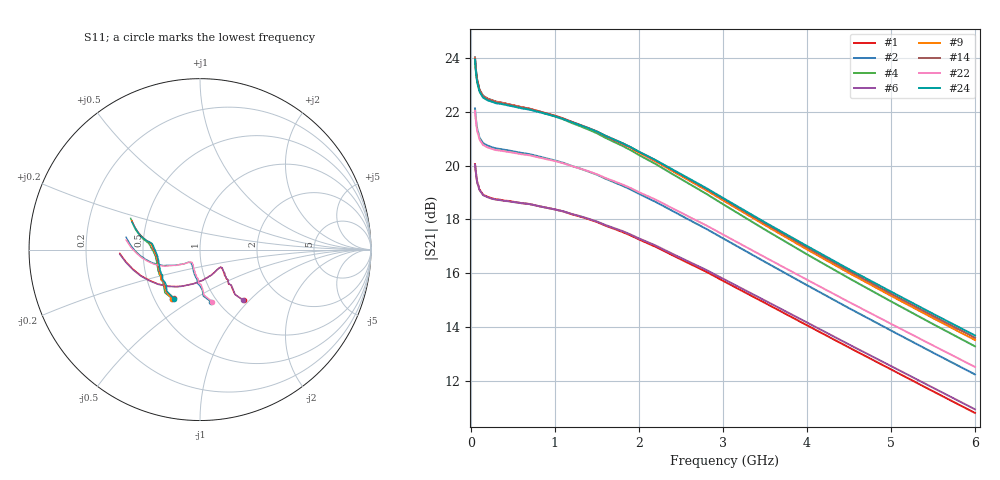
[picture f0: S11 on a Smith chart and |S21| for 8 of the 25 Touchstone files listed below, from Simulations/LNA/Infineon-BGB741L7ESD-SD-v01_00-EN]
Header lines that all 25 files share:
!  Infineon Technologies AG
!  BGB741L7ESD
# GHz  S  MA  R  50
!f  S11  S21  S12  S22
!GHz  Mag  Ang  Mag  Ang  Mag  Ang  Mag  Ang
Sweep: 50 MHz to 6 GHz
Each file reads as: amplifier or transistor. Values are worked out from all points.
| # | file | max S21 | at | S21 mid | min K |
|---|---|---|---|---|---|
| 1 | BGB741L7ESD_1V86M0.s2p | 20.1 dB | 50 MHz | 18.4 dB at 1 GHz | 0.80 |
| 2 | BGB741L7ESD_1V810M.s2p | 22.1 dB | 50 MHz | 20.2 dB at 1 GHz | 0.81 |
| 3 | BGB741L7ESD_1V815M.s2p | 23.4 dB | 50 MHz | 21.3 dB at 1 GHz | 0.80 |
| 4 | BGB741L7ESD_1V820M.s2p | 24.0 dB | 50 MHz | 21.8 dB at 1 GHz | 0.81 |
| 5 | BGB741L7ESD_1V825M.s2p | 24.4 dB | 50 MHz | 22.2 dB at 1 GHz | 0.81 |
| 6 | BGB741L7ESD_2V56M0.s2p | 20.0 dB | 50 MHz | 18.4 dB at 1 GHz | 0.81 |
| 7 | BGB741L7ESD_2V510M.s2p | 22.1 dB | 50 MHz | 20.2 dB at 1 GHz | 0.81 |
| 8 | BGB741L7ESD_2V515M.s2p | 23.3 dB | 50 MHz | 21.3 dB at 1 GHz | 0.81 |
| 9 | BGB741L7ESD_2V520M.s2p | 24.0 dB | 50 MHz | 21.9 dB at 1 GHz | 0.81 |
| 10 | BGB741L7ESD_2V525M.s2p | 24.4 dB | 50 MHz | 22.2 dB at 1 GHz | 0.81 |
| 11 | BGB741L7ESD_3V06M0.s2p | 20.0 dB | 50 MHz | 18.4 dB at 1 GHz | 0.81 |
| 12 | BGB741L7ESD_3V010M.s2p | 22.1 dB | 50 MHz | 20.2 dB at 1 GHz | 0.81 |
| 13 | BGB741L7ESD_3V015M.s2p | 23.3 dB | 50 MHz | 21.3 dB at 1 GHz | 0.82 |
| 14 | BGB741L7ESD_3V020M.s2p | 24.0 dB | 50 MHz | 21.9 dB at 1 GHz | 0.82 |
| 15 | BGB741L7ESD_3V025M.s2p | 24.4 dB | 50 MHz | 22.2 dB at 1 GHz | 0.82 |
| 16 | BGB741L7ESD_3V56M0.s2p | 20.0 dB | 50 MHz | 18.4 dB at 1 GHz | 0.81 |
| 17 | BGB741L7ESD_3V510M.s2p | 22.1 dB | 50 MHz | 20.2 dB at 1 GHz | 0.81 |
| 18 | BGB741L7ESD_3V515M.s2p | 23.3 dB | 50 MHz | 21.3 dB at 1 GHz | 0.81 |
| 19 | BGB741L7ESD_3V520M.s2p | 24.0 dB | 50 MHz | 21.9 dB at 1 GHz | 0.81 |
| 20 | BGB741L7ESD_3V525M.s2p | 24.4 dB | 50 MHz | 22.2 dB at 1 GHz | 0.82 |
| 21 | BGB741L7ESD_4V06M0.s2p | 20.0 dB | 50 MHz | 18.4 dB at 1 GHz | 0.81 |
| 22 | BGB741L7ESD_4V010M.s2p | 22.0 dB | 50 MHz | 20.2 dB at 1 GHz | 0.81 |
| 23 | BGB741L7ESD_4V015M.s2p | 23.3 dB | 50 MHz | 21.2 dB at 1 GHz | 0.81 |
| 24 | BGB741L7ESD_4V020M.s2p | 23.9 dB | 50 MHz | 21.8 dB at 1 GHz | 0.82 |
| 25 | BGB741L7ESD_4V025M.s2p | 24.4 dB | 50 MHz | 22.2 dB at 1 GHz | 0.82 |

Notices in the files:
Simulations/LNA/Infineon-BGB741L7ESD-SD-v01_00-EN/BGB741L7ESD_1V810M.s2p:
(c) 2009  Infineon Technologies AG, Munich
